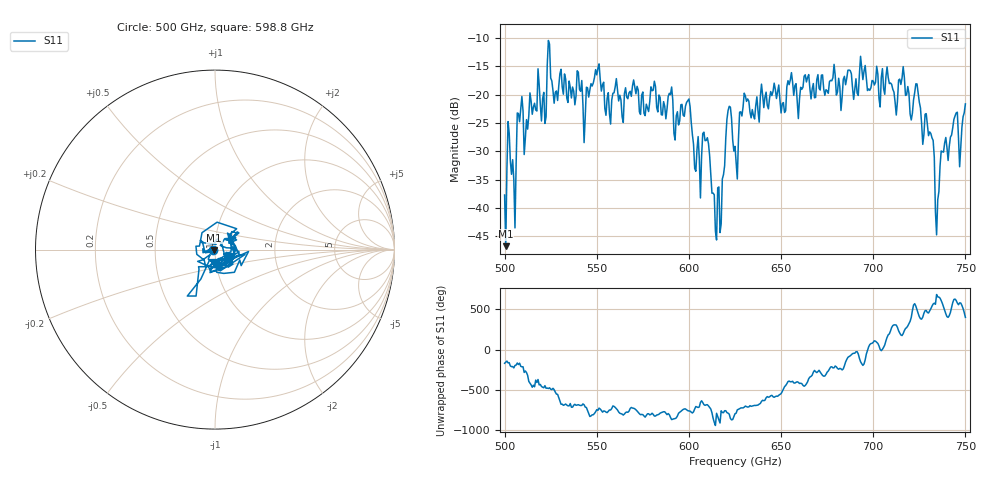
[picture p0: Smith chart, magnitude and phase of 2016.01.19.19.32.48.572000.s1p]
!Created with skrf (http://scikit-rf.org).
# GHz S RI R 50.0
!freq ReS11 ImS11
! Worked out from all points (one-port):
!   401 points, 500 GHz to 750 GHz, reference 50 ohm
!   lowest |S11| = -46.8 dB at 500.6 GHz (marker M1), VSWR 1.01, Z = 49.6 - j0.198 ohm
!   |S11| at or under -10 dB: start of sweep to end of sweep
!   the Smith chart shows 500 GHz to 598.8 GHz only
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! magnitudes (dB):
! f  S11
! 500 GHz  -37.7
! 500.6 GHz  -46.8
! 503.1 GHz  -31.8
! 505 GHz  -35.1
! 508.1 GHz  -24.8
! 521.2 GHz  -19.6
! 524.4 GHz  -11.1
! 527.5 GHz  -19.6
! 531.2 GHz  -18.6
! 562.5 GHz  -20.1
! 580.6 GHz  -19.2
! 593.8 GHz  -23.0
! 599.4 GHz  -21.1
! 605 GHz  -27.4
! 609.4 GHz  -28.1
! 615.6 GHz  -36.5
! 618.1 GHz  -34.9
! 621.2 GHz  -22.8
! 625 GHz  -29.1
! 630.6 GHz  -20.2
! 656.2 GHz  -17.8
! 687.5 GHz  -15.7
! 718.8 GHz  -18.6
! 731.2 GHz  -26.9
! 735 GHz  -38.6
! 738.1 GHz  -30.2
! 747.5 GHz  -29.1
! 750 GHz  -21.6
